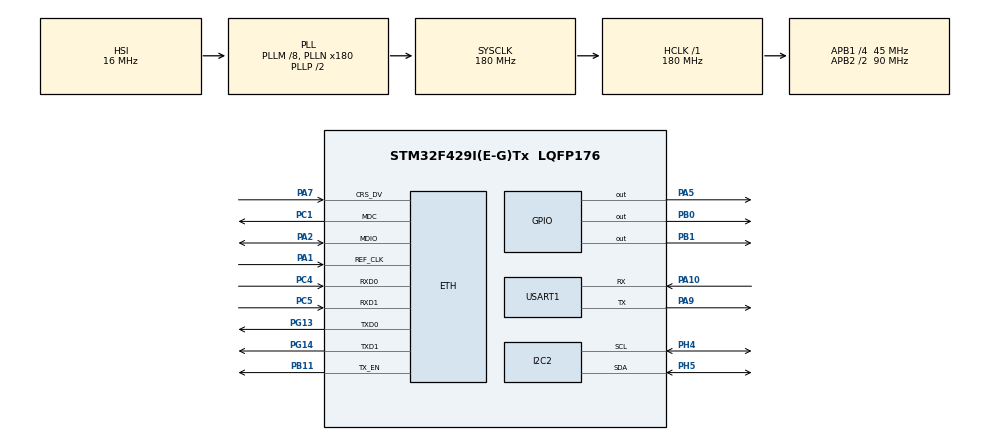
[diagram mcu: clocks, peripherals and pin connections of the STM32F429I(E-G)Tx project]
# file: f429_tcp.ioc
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ETH.MACAddr=00\:80\:E1\:00\:00\:29
ETH.MediaInterface=ETH_MEDIA_INTERFACE_RMII
ETH.PHY_Name_RMII=LAN8742A_PHY_ADDRESS
ETH.PhyAddress=0
ETH.RxMode=ETH_RXINTERRUPT_MODE
FREERTOS.Tasks01=defaultTask,0,1024,StartDefaultTask,Default,NULL,Dynamic,NULL,NULL
FREERTOS.configCHECK_FOR_STACK_OVERFLOW=1
FREERTOS.configTOTAL_HEAP_SIZE=102400
FREERTOS.configUSE_MALLOC_FAILED_HOOK=1
FREERTOS.configUSE_TIMERS=1
LWIP.DHCP_DEBUG=LWIP_DBG_ON
LWIP.LWIP_DNS=1
LWIP.NETIF_DEBUG=LWIP_DBG_ON
LWIP.PBUF_DEBUG=LWIP_DBG_ON
LWIP.SOCKETS_DEBUG=LWIP_DBG_ON
LWIP.TCP_DEBUG=LWIP_DBG_ON
LWIP.UDP_DEBUG=LWIP_DBG_ON
LWIP.Version=v2.1.2_Cube
Mcu.Family=STM32F4
Mcu.Name=STM32F429I(E-G)Tx
Mcu.Package=LQFP176
NVIC.ETH_IRQn=true\:5\:0\:false\:false\:true\:true\:false\:true
NVIC.PriorityGroup=NVIC_PRIORITYGROUP_4
NVIC.TIM1_UP_TIM10_IRQn=true\:0\:0\:false\:false\:true\:false\:false\:true
NVIC.TimeBase=TIM1_UP_TIM10_IRQn
NVIC.TimeBaseIP=TIM1
PA1.Mode=RMII
PA1.Signal=ETH_REF_CLK
PA10.Mode=Asynchronous
PA10.Signal=USART1_RX
PA13.Mode=Serial_Wire
PA13.Signal=SYS_JTMS-SWDIO
PA14.Mode=Serial_Wire
PA14.Signal=SYS_JTCK-SWCLK
PA2.Mode=RMII
PA2.Signal=ETH_MDIO
PA5.GPIO_PuPd=GPIO_PULLUP
PA5.GPIO_Speed=GPIO_SPEED_FREQ_VERY_HIGH
PA5.PinState=GPIO_PIN_SET
PA5.Signal=GPIO_Output
PA7.Mode=RMII
PA7.Signal=ETH_CRS_DV
PA9.Mode=Asynchronous
PA9.Signal=USART1_TX
PB0.GPIO_PuPd=GPIO_PULLUP
PB0.GPIO_Speed=GPIO_SPEED_FREQ_VERY_HIGH
PB0.PinState=GPIO_PIN_SET
PB0.Signal=GPIO_Output
PB1.GPIO_PuPd=GPIO_PULLUP
PB1.GPIO_Speed=GPIO_SPEED_FREQ_VERY_HIGH
PB1.PinState=GPIO_PIN_RESET
PB1.Signal=GPIO_Output
PB11.Mode=RMII
PB11.Signal=ETH_TX_EN
PC1.Mode=RMII
PC1.Signal=ETH_MDC
PC14/OSC32_IN.Mode=LSE-External-Oscillator
PC14/OSC32_IN.Signal=RCC_OSC32_IN
PC15/OSC32_OUT.Mode=LSE-External-Oscillator
PC15/OSC32_OUT.Signal=RCC_OSC32_OUT
PC4.Mode=RMII
PC4.Signal=ETH_RXD0
PC5.Mode=RMII
PC5.Signal=ETH_RXD1
PG13.Mode=RMII
PG13.Signal=ETH_TXD0
PG14.Mode=RMII
PG14.Signal=ETH_TXD1
PH0/OSC_IN.Mode=HSE-External-Oscillator
PH0/OSC_IN.Signal=RCC_OSC_IN
PH1/OSC_OUT.Mode=HSE-External-Oscillator
PH1/OSC_OUT.Signal=RCC_OSC_OUT
PH4.Mode=I2C
PH4.Signal=I2C2_SCL
PH5.Mode=I2C
PH5.Signal=I2C2_SDA
ProjectManager.HeapSize=0x200
ProjectManager.StackSize=0x400
ProjectManager.TargetToolchain=TrueSTUDIO
RCC.48MHZClocksFreq_Value=45000000
RCC.AHBFreq_Value=180000000
RCC.APB1CLKDivider=RCC_HCLK_DIV4
RCC.APB1Freq_Value=45000000
RCC.APB1TimFreq_Value=90000000
RCC.APB2CLKDivider=RCC_HCLK_DIV2
RCC.APB2Freq_Value=90000000
RCC.APB2TimFreq_Value=180000000
RCC.CortexFreq_Value=180000000
RCC.HCLKFreq_Value=180000000
RCC.HSE_VALUE=25000000
RCC.HSI_VALUE=16000000
RCC.PLLM=8
RCC.PLLN=180
RCC.PLLQ=8
RCC.SYSCLKFreq_VALUE=180000000
RCC.SYSCLKSource=RCC_SYSCLKSOURCE_PLLCLK
RCC.VCOOutputFreq_Value=360000000
USART1.VirtualMode=VM_ASYNC
VP_CRC_VS_CRC.Mode=CRC_Activate
VP_FREERTOS_VS_CMSIS_V1.Mode=CMSIS_V1
VP_LWIP_VS_Enabled.Mode=Enabled
VP_RNG_VS_RNG.Mode=RNG_Activate
VP_SYS_VS_tim1.Mode=TIM1
board=custom

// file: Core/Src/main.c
/* USER CODE BEGIN Header */
/**
  ******************************************************************************
  * @file           : main.c
  * @brief          : Main program body
  ******************************************************************************
  * @attention
  *
  * <h2><center>&copy; Copyright (c) 2021 STMicroelectronics.
  * All rights reserved.</center></h2>
  *
  * This software component is licensed by ST under Ultimate Liberty license
  * SLA0044, the "License"; You may not use this file except in compliance with
  * the License. You may obtain a copy of the License at:
  *                             www.st.com/SLA0044
  *
  ******************************************************************************
  */
/* USER CODE END Header */
#include "main.h"
#include "cmsis_os.h"
#include "lwip.h"

/* USER CODE BEGIN Includes */
#include "pcf8574.h"
#include "tcp_client.h"
#include "tcp_server.h"
/* USER CODE END Includes */

CRC_HandleTypeDef hcrc;

I2C_HandleTypeDef hi2c2;

RNG_HandleTypeDef hrng;

UART_HandleTypeDef huart1;

osThreadId defaultTaskHandle;
/* USER CODE BEGIN PV */
osThreadId TCPTaskHandle;

/* USER CODE END PV */

void SystemClock_Config(void);
static void MX_GPIO_Init(void);
static void MX_CRC_Init(void);
static void MX_I2C2_Init(void);
static void MX_RNG_Init(void);
static void MX_USART1_UART_Init(void);
void StartDefaultTask(void const * argument);

/* USER CODE BEGIN 0 */
#ifdef __GNUC__
#define PUTCHAR_PROTOTYPE int __io_putchar(int ch)
#else
#define PUTCHAR_PROTOTYPE int fputc(int ch, FILE *f)
#endif
PUTCHAR_PROTOTYPE
{
    //HAL_UART_Transmit(&huart1 , (uint8_t *)&ch, 1 , 0xffff);
	while ((USART1->SR & 0X40) == 0);
    USART1->DR = (uint8_t) ch;
    return ch;
}
/* USER CODE END 0 */

int main(void)
{

  /* MCU Configuration--------------------------------------------------------*/

  /* Reset of all peripherals, Initializes the Flash interface and the Systick. */
  HAL_Init();

  /* Configure the system clock */
  SystemClock_Config();

  /* Initialize all configured peripherals */
  MX_GPIO_Init();
  MX_CRC_Init();
  MX_I2C2_Init();
  MX_RNG_Init();
  MX_USART1_UART_Init();
  /* USER CODE BEGIN 2 */
  PCF8574_Init();
  printf("ETH test\r\n");

  /* USER CODE END 2 */

  /* Create the thread(s) */
  /* definition and creation of defaultTask */
  osThreadDef(defaultTask, StartDefaultTask, osPriorityNormal, 0, 1024);
  defaultTaskHandle = osThreadCreate(osThread(defaultTask), NULL);

  /* Start scheduler */
  osKernelStart();

  /* We should never get here as control is now taken by the scheduler */
  /* Infinite loop */
  while (1)
  {

  }
}

void SystemClock_Config(void)
{
  RCC_OscInitTypeDef RCC_OscInitStruct = {0};
  RCC_ClkInitTypeDef RCC_ClkInitStruct = {0};

  /** Configure the main internal regulator output voltage
  */
  __HAL_RCC_PWR_CLK_ENABLE();
  __HAL_PWR_VOLTAGESCALING_CONFIG(PWR_REGULATOR_VOLTAGE_SCALE1);
  /** Initializes the RCC Oscillators according to the specified parameters
  * in the RCC_OscInitTypeDef structure.
  */
  RCC_OscInitStruct.OscillatorType = RCC_OSCILLATORTYPE_HSI;
  RCC_OscInitStruct.HSIState = RCC_HSI_ON;
  RCC_OscInitStruct.HSICalibrationValue = RCC_HSICALIBRATION_DEFAULT;
  RCC_OscInitStruct.PLL.PLLState = RCC_PLL_ON;
  RCC_OscInitStruct.PLL.PLLSource = RCC_PLLSOURCE_HSI;
  RCC_OscInitStruct.PLL.PLLM = 8;
  RCC_OscInitStruct.PLL.PLLN = 180;
  RCC_OscInitStruct.PLL.PLLP = RCC_PLLP_DIV2;
  RCC_OscInitStruct.PLL.PLLQ = 8;
  if (HAL_RCC_OscConfig(&RCC_OscInitStruct) != HAL_OK)
  {
    Error_Handler();
  }
  /** Activate the Over-Drive mode
  */
  if (HAL_PWREx_EnableOverDrive() != HAL_OK)
  {
    Error_Handler();
  }
  /** Initializes the CPU, AHB and APB buses clocks
  */
  RCC_ClkInitStruct.ClockType = RCC_CLOCKTYPE_HCLK|RCC_CLOCKTYPE_SYSCLK
                              |RCC_CLOCKTYPE_PCLK1|RCC_CLOCKTYPE_PCLK2;
  RCC_ClkInitStruct.SYSCLKSource = RCC_SYSCLKSOURCE_PLLCLK;
  RCC_ClkInitStruct.AHBCLKDivider = RCC_SYSCLK_DIV1;
  RCC_ClkInitStruct.APB1CLKDivider = RCC_HCLK_DIV4;
  RCC_ClkInitStruct.APB2CLKDivider = RCC_HCLK_DIV2;

  if (HAL_RCC_ClockConfig(&RCC_ClkInitStruct, FLASH_LATENCY_5) != HAL_OK)
  {
    Error_Handler();
  }
}

static void MX_CRC_Init(void)
{

  hcrc.Instance = CRC;
  if (HAL_CRC_Init(&hcrc) != HAL_OK)
  {
    Error_Handler();
  }

}

static void MX_I2C2_Init(void)
{

  hi2c2.Instance = I2C2;
  hi2c2.Init.ClockSpeed = 100000;
  hi2c2.Init.DutyCycle = I2C_DUTYCYCLE_2;
  hi2c2.Init.OwnAddress1 = 0;
  hi2c2.Init.AddressingMode = I2C_ADDRESSINGMODE_7BIT;
  hi2c2.Init.DualAddressMode = I2C_DUALADDRESS_DISABLE;
  hi2c2.Init.OwnAddress2 = 0;
  hi2c2.Init.GeneralCallMode = I2C_GENERALCALL_DISABLE;
  hi2c2.Init.NoStretchMode = I2C_NOSTRETCH_DISABLE;
  if (HAL_I2C_Init(&hi2c2) != HAL_OK)
  {
    Error_Handler();
  }
  /** Configure Analogue filter
  */
  if (HAL_I2CEx_ConfigAnalogFilter(&hi2c2, I2C_ANALOGFILTER_ENABLE) != HAL_OK)
  {
    Error_Handler();
  }
  /** Configure Digital filter
  */
  if (HAL_I2CEx_ConfigDigitalFilter(&hi2c2, 0) != HAL_OK)
  {
    Error_Handler();
  }

}

static void MX_RNG_Init(void)
{

  hrng.Instance = RNG;
  if (HAL_RNG_Init(&hrng) != HAL_OK)
  {
    Error_Handler();
  }

}

static void MX_USART1_UART_Init(void)
{

  huart1.Instance = USART1;
  huart1.Init.BaudRate = 115200;
  huart1.Init.WordLength = UART_WORDLENGTH_8B;
  huart1.Init.StopBits = UART_STOPBITS_1;
  huart1.Init.Parity = UART_PARITY_NONE;
  huart1.Init.Mode = UART_MODE_TX_RX;
  huart1.Init.HwFlowCtl = UART_HWCONTROL_NONE;
  huart1.Init.OverSampling = UART_OVERSAMPLING_16;
  if (HAL_UART_Init(&huart1) != HAL_OK)
  {
    Error_Handler();
  }

}

static void MX_GPIO_Init(void)
{
  GPIO_InitTypeDef GPIO_InitStruct = {0};

  /* GPIO Ports Clock Enable */
  __HAL_RCC_GPIOC_CLK_ENABLE();
  __HAL_RCC_GPIOH_CLK_ENABLE();
  __HAL_RCC_GPIOA_CLK_ENABLE();
  __HAL_RCC_GPIOB_CLK_ENABLE();
  __HAL_RCC_GPIOG_CLK_ENABLE();

  /*Configure GPIO pin Output Level */
  HAL_GPIO_WritePin(GPIOA, GPIO_PIN_5, GPIO_PIN_SET);

  /*Configure GPIO pin Output Level */
  HAL_GPIO_WritePin(GPIOB, GPIO_PIN_0, GPIO_PIN_SET);

  /*Configure GPIO pin Output Level */
  HAL_GPIO_WritePin(GPIOB, GPIO_PIN_1, GPIO_PIN_RESET);

  /*Configure GPIO pin : PA5 */
  GPIO_InitStruct.Pin = GPIO_PIN_5;
  GPIO_InitStruct.Mode = GPIO_MODE_OUTPUT_PP;
  GPIO_InitStruct.Pull = GPIO_PULLUP;
  GPIO_InitStruct.Speed = GPIO_SPEED_FREQ_VERY_HIGH;
  HAL_GPIO_Init(GPIOA, &GPIO_InitStruct);

  /*Configure GPIO pins : PB0 PB1 */
  GPIO_InitStruct.Pin = GPIO_PIN_0|GPIO_PIN_1;
  GPIO_InitStruct.Mode = GPIO_MODE_OUTPUT_PP;
  GPIO_InitStruct.Pull = GPIO_PULLUP;
  GPIO_InitStruct.Speed = GPIO_SPEED_FREQ_VERY_HIGH;
  HAL_GPIO_Init(GPIOB, &GPIO_InitStruct);

}

void StartDefaultTask(void const * argument)
{
  /* init code for LWIP */
  MX_LWIP_Init();
  /* USER CODE BEGIN 5 */
  osDelay(3000);
  osThreadDef(TCPServer, tcpecho_thread, osPriorityNormal, 0, 2048);
  TCPTaskHandle = osThreadCreate(osThread(TCPServer), NULL);
  /* Infinite loop */
  for(;;)
  {
	  HAL_GPIO_TogglePin(GPIOB, GPIO_PIN_0);
	  HAL_GPIO_TogglePin(GPIOB, GPIO_PIN_1);
	  osDelay(1000);
  }
  /* USER CODE END 5 */
}

 /**
  * @brief  Period elapsed callback in non blocking mode
  * @note   This function is called  when TIM1 interrupt took place, inside
  * HAL_TIM_IRQHandler(). It makes a direct call to HAL_IncTick() to increment
  * a global variable "uwTick" used as application time base.
  * @param  htim : TIM handle
  * @retval None
  */
void HAL_TIM_PeriodElapsedCallback(TIM_HandleTypeDef *htim)
{
  if (htim->Instance == TIM1) {
    HAL_IncTick();
  }
}

void Error_Handler(void)
{
  __disable_irq();
  while (1)
  {
  }
}

/************************ (C) COPYRIGHT STMicroelectronics *****END OF FILE****/

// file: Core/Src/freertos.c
/* USER CODE BEGIN Header */
/**
  ******************************************************************************
  * File Name          : freertos.c
  * Description        : Code for freertos applications
  ******************************************************************************
  * @attention
  *
  * <h2><center>&copy; Copyright (c) 2021 STMicroelectronics.
  * All rights reserved.</center></h2>
  *
  * This software component is licensed by ST under Ultimate Liberty license
  * SLA0044, the "License"; You may not use this file except in compliance with
  * the License. You may obtain a copy of the License at:
  *                             www.st.com/SLA0044
  *
  ******************************************************************************
  */
/* USER CODE END Header */

#include "FreeRTOS.h"
#include "task.h"
#include "main.h"

/* GetIdleTaskMemory prototype (linked to static allocation support) */
void vApplicationGetIdleTaskMemory( StaticTask_t **ppxIdleTaskTCBBuffer, StackType_t **ppxIdleTaskStackBuffer, uint32_t *pulIdleTaskStackSize );

/* GetTimerTaskMemory prototype (linked to static allocation support) */
void vApplicationGetTimerTaskMemory( StaticTask_t **ppxTimerTaskTCBBuffer, StackType_t **ppxTimerTaskStackBuffer, uint32_t *pulTimerTaskStackSize );

/* Hook prototypes */
void vApplicationStackOverflowHook(xTaskHandle xTask, signed char *pcTaskName);
void vApplicationMallocFailedHook(void);

/* USER CODE BEGIN 4 */
__weak void vApplicationStackOverflowHook(xTaskHandle xTask, signed char *pcTaskName)
{
   /* Run time stack overflow checking is performed if
   configCHECK_FOR_STACK_OVERFLOW is defined to 1 or 2. This hook function is
   called if a stack overflow is detected. */
}
/* USER CODE END 4 */

/* USER CODE BEGIN 5 */
__weak void vApplicationMallocFailedHook(void)
{
   /* vApplicationMallocFailedHook() will only be called if
   configUSE_MALLOC_FAILED_HOOK is set to 1 in FreeRTOSConfig.h. It is a hook
   function that will get called if a call to pvPortMalloc() fails.
   pvPortMalloc() is called internally by the kernel whenever a task, queue,
   timer or semaphore is created. It is also called by various parts of the
   demo application. If heap_1.c or heap_2.c are used, then the size of the
   heap available to pvPortMalloc() is defined by configTOTAL_HEAP_SIZE in
   FreeRTOSConfig.h, and the xPortGetFreeHeapSize() API function can be used
   to query the size of free heap space that remains (although it does not
   provide information on how the remaining heap might be fragmented). */
}
/* USER CODE END 5 */

/* USER CODE BEGIN GET_IDLE_TASK_MEMORY */
static StaticTask_t xIdleTaskTCBBuffer;
static StackType_t xIdleStack[configMINIMAL_STACK_SIZE];

void vApplicationGetIdleTaskMemory( StaticTask_t **ppxIdleTaskTCBBuffer, StackType_t **ppxIdleTaskStackBuffer, uint32_t *pulIdleTaskStackSize )
{
  *ppxIdleTaskTCBBuffer = &xIdleTaskTCBBuffer;
  *ppxIdleTaskStackBuffer = &xIdleStack[0];
  *pulIdleTaskStackSize = configMINIMAL_STACK_SIZE;
  /* place for user code */
}
/* USER CODE END GET_IDLE_TASK_MEMORY */

/* USER CODE BEGIN GET_TIMER_TASK_MEMORY */
static StaticTask_t xTimerTaskTCBBuffer;
static StackType_t xTimerStack[configTIMER_TASK_STACK_DEPTH];

void vApplicationGetTimerTaskMemory( StaticTask_t **ppxTimerTaskTCBBuffer, StackType_t **ppxTimerTaskStackBuffer, uint32_t *pulTimerTaskStackSize )
{
  *ppxTimerTaskTCBBuffer = &xTimerTaskTCBBuffer;
  *ppxTimerTaskStackBuffer = &xTimerStack[0];
  *pulTimerTaskStackSize = configTIMER_TASK_STACK_DEPTH;
  /* place for user code */
}
/* USER CODE END GET_TIMER_TASK_MEMORY */

/************************ (C) COPYRIGHT STMicroelectronics *****END OF FILE****/
